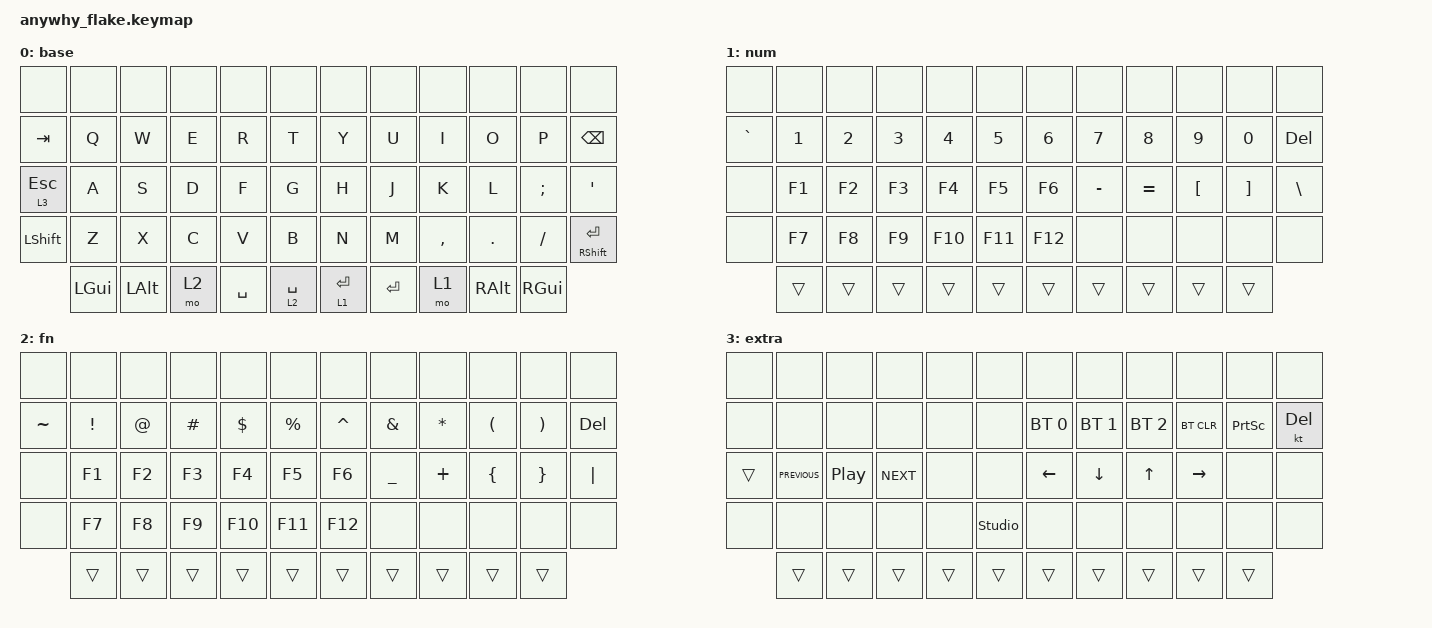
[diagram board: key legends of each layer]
#include <behaviors.dtsi>
#include <dt-bindings/zmk/bt.h>
#include <dt-bindings/zmk/keys.h>

/ {
    combos {
        compatible = "zmk,combos";

        combo_lctrl {
            bindings = <&kp LEFT_CONTROL>;
            key-positions = <15 16>;
            timeout-ms = <50>;
        };

        combo_lshift {
            bindings = <&kp LEFT_SHIFT>;
            key-positions = <14 15>;
            timeout-ms = <50>;
        };

        combo_lalt {
            bindings = <&kp LEFT_ALT>;
            key-positions = <13 14>;
            timeout-ms = <50>;
        };

        combo_lgui {
            bindings = <&kp LEFT_GUI>;
            key-positions = <14 16>;
            timeout-ms = <50>;
        };

        combo_rctrl {
            bindings = <&kp RIGHT_CONTROL>;
            key-positions = <19 20>;
            timeout-ms = <50>;
        };

        combo_rshift {
            bindings = <&kp RIGHT_SHIFT>;
            key-positions = <20 21>;
            timeout-ms = <50>;
        };

        combo_ralt {
            bindings = <&kp RIGHT_ALT>;
            key-positions = <21 22>;
            timeout-ms = <50>;
        };

        combo_rgui {
            bindings = <&kp RIGHT_GUI>;
            key-positions = <19 21>;
            timeout-ms = <50>;
        };
    };

    macros {
        bt_clr_0: bt_clr_0 {
            compatible = "zmk,behavior-macro";
            #binding-cells = <0>;
            bindings = <&bt BT_SEL 0 &bt BT_CLR>;
            label = "BT_CLR_0";
        };

        bt_clr_1: bt_clr_1 {
            compatible = "zmk,behavior-macro";
            #binding-cells = <0>;
            bindings = <&bt BT_SEL 1 &bt BT_CLR>;
            label = "BT_CLR_1";
        };

        bt_clr_2: bt_clr_2 {
            compatible = "zmk,behavior-macro";
            #binding-cells = <0>;
            bindings = <&bt BT_SEL 2 &bt BT_CLR>;
            label = "BT_CLR_2";
        };

        bt_clr_3: bt_clr_3 {
            compatible = "zmk,behavior-macro";
            #binding-cells = <0>;
            bindings = <&bt BT_SEL 3 &bt BT_CLR>;
            label = "BT_CLR_3";
        };

        bt_clr_4: bt_clr_4 {
            compatible = "zmk,behavior-macro";
            #binding-cells = <0>;
            bindings = <&bt BT_SEL 4 &bt BT_CLR>;
            label = "BT_CLR_4";
        };
    };

    behaviors {
        bt0: bt0 {
            compatible = "zmk,behavior-mod-morph";
            label = "BT0";
            bindings = <&bt BT_SEL 0>, <&bt_clr_0>;

            #binding-cells = <0>;
            mods = <(MOD_LSFT|MOD_RSFT)>;
        };

        bt1: bt1 {
            compatible = "zmk,behavior-mod-morph";
            label = "BT1";
            bindings = <&bt BT_SEL 1>, <&bt_clr_1>;

            #binding-cells = <0>;
            mods = <(MOD_LSFT|MOD_RSFT)>;
        };

        bt2: bt2 {
            compatible = "zmk,behavior-mod-morph";
            label = "BT2";
            bindings = <&bt BT_SEL 2>, <&bt_clr_2>;

            #binding-cells = <0>;
            mods = <(MOD_LSFT|MOD_RSFT)>;
        };

        bt3: bt3 {
            compatible = "zmk,behavior-mod-morph";
            label = "BT3";
            bindings = <&bt BT_SEL 3>, <&bt_clr_3>;

            #binding-cells = <0>;
            mods = <(MOD_LSFT|MOD_RSFT)>;
        };

        bt4: bt4 {
            compatible = "zmk,behavior-mod-morph";
            label = "BT4";
            bindings = <&bt BT_SEL 4>, <&bt_clr_4>;

            #binding-cells = <0>;
            mods = <(MOD_LSFT|MOD_RSFT)>;
        };
    };

    keymap {
        compatible = "zmk,keymap";

        base {
            bindings = <
&none           &none         &none     &none  &none      &none          &none        &none      &none      &none          &none          &none
&kp TAB         &kp Q         &kp W     &kp E  &kp R      &kp T          &kp Y        &kp U      &kp I      &kp O          &kp P          &kp BSPC
&lt 3 ESCAPE    &kp A         &kp S     &kp D  &kp F      &kp G          &kp H        &kp J      &kp K      &kp L          &kp SEMI       &kp APOS
&kp LEFT_SHIFT  &kp Z         &kp X     &kp C  &kp V      &kp B          &kp N        &kp M      &kp COMMA  &kp DOT        &kp FSLH       &mt RIGHT_SHIFT ENTER
                &kp LEFT_GUI  &kp LALT  &mo 2  &kp SPACE  &lt 2 SPACE    &lt 1 ENTER  &kp ENTER  &mo 1      &kp RIGHT_ALT  &kp RIGHT_GUI
            >;
        };

        num {
            bindings = <
&none      &none   &none   &none   &none    &none      &none    &none      &none      &none             &none              &none
&kp GRAVE  &kp N1  &kp N2  &kp N3  &kp N4   &kp N5     &kp N6   &kp N7     &kp N8     &kp N9            &kp N0             &kp DEL
&none      &kp F1  &kp F2  &kp F3  &kp F4   &kp F5     &kp F6   &kp MINUS  &kp EQUAL  &kp LEFT_BRACKET  &kp RIGHT_BRACKET  &kp BACKSLASH
&none      &kp F7  &kp F8  &kp F9  &kp F10  &kp F11    &kp F12  &none      &none      &none             &none              &none
           &trans  &trans  &trans  &trans   &trans     &trans   &trans     &trans     &trans            &trans
            >;
        };

        fn {
            bindings = <
&none      &none            &none        &none     &none       &none          &none      &none           &none         &none                 &none                  &none
&kp TILDE  &kp EXCLAMATION  &kp AT_SIGN  &kp HASH  &kp DOLLAR  &kp PERCENT    &kp CARET  &kp AMPERSAND   &kp ASTERISK  &kp LEFT_PARENTHESIS  &kp RIGHT_PARENTHESIS  &kp DEL
&none      &kp F1           &kp F2       &kp F3    &kp F4      &kp F5         &kp F6     &kp UNDERSCORE  &kp PLUS      &kp LEFT_BRACE        &kp RIGHT_BRACE        &kp PIPE
&none      &kp F7           &kp F8       &kp F9    &kp F10     &kp F11        &kp F12    &none           &none         &none                 &none                  &none
           &trans           &trans       &trans    &trans      &trans         &trans     &trans          &trans        &trans                &trans
            >;
        };

        extra {
            bindings = <
&none   &none           &none             &none       &none   &none             &none         &none         &none         &none       &none            &none
&none   &none           &none             &none       &none   &none             &bt BT_SEL 0  &bt BT_SEL 1  &bt BT_SEL 2  &bt BT_CLR  &kp PRINTSCREEN  &kt DELETE
&trans  &kp C_PREVIOUS  &kp C_PLAY_PAUSE  &kp C_NEXT  &none   &none             &kp LEFT      &kp DOWN      &kp UP_ARROW  &kp RIGHT   &none            &none
&none   &none           &none             &none       &none   &studio_unlock    &none         &none         &none         &none       &none            &none
        &trans          &trans            &trans      &trans  &trans            &trans        &trans        &trans        &trans      &trans
            >;
        };
    };
};
